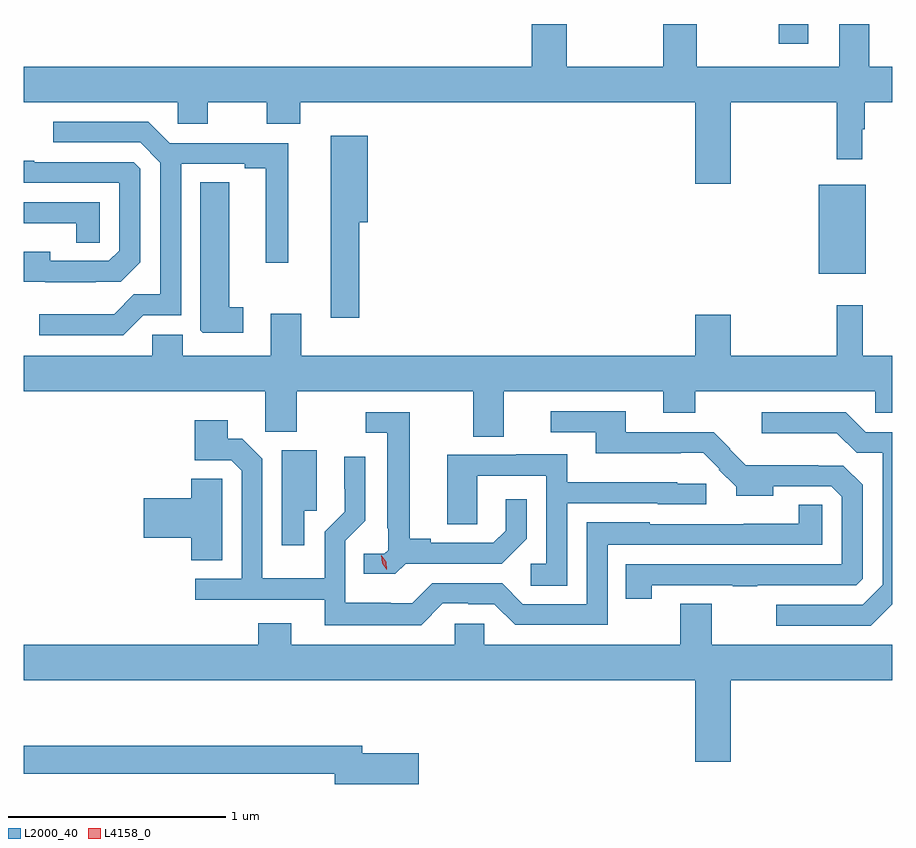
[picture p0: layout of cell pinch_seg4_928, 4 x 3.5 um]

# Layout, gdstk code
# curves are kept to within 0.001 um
import gdstk
lib = gdstk.Library(unit=1e-6, precision=1e-09)
def R(c, l, rs):  # rectangles x0, y0, x1, y1
    for r in rs: c.add(gdstk.rectangle(r[:2], r[2:], *l))
def P(c, l, *ps):  # polygons
    for p in ps: c.add(gdstk.Polygon(p, *l))
L2000_40 = (2000, 40)
L4158_0 = (4158, 0)

pinch_seg4_928 = lib.new_cell('pinch_seg4_928')
R(pinch_seg4_928, L2000_40, [(705.038,804.023,705.253,804.433), (704.854,805.083,704.989,805.173)])
P(pinch_seg4_928, L2000_40, [(704.632,804.812),(705.121,804.812),(705.121,804.549),(705.238,804.549),(705.238,804.689),(705.25,804.689),(705.25,804.812),(705.375,804.812),(705.375,804.976),(705.271,804.976),(705.271,805.173),(705.131,805.173),(705.131,804.976),(704.475,804.976),(704.475,805.173),(704.32,805.173),(704.32,804.976),(703.875,804.976),(703.875,805.173),(703.715,805.173),(703.715,804.976),(701.375,804.976),(701.375,804.812),(702.084,804.812),(702.084,804.714),(702.223,804.714),(702.223,804.812),(702.494,804.812),(702.494,804.713),(702.647,804.713),(702.647,804.812),(704.468,804.812),(704.468,804.438),(704.632,804.438)],
  [(701.925,803.832),(702.099,803.832),(702.099,804.528),(702.392,804.528),(702.392,804.508),(702.488,804.508),(702.488,804.072),(702.592,804.072),(702.592,804.624),(702.046,804.624),(701.947,804.723),(701.511,804.723),(701.511,804.627),(701.91,804.627),(702.003,804.534),(702.003,803.927),(701.882,803.927),(701.791,803.836),(701.445,803.836),(701.445,803.739),(701.832,803.739)],
  [(702.92,804.26),(702.959,804.26),(702.959,804.658),(702.788,804.658),(702.788,803.82),(702.92,803.82)],
  [(701.705,803.986),(701.821,803.986),(701.91,804.075),(701.91,804.507),(701.88,804.537),(701.423,804.537),(701.423,804.542),(701.375,804.542),(701.375,804.441),(701.814,804.441),(701.814,804.129),(701.766,804.081),(701.497,804.081),(701.497,804.124),(701.375,804.124),(701.375,803.985),(701.705,803.984)],
  [(702.385,803.867),(702.322,803.867),(702.322,804.443),(702.188,804.443),(702.188,803.761),(702.198,803.751),(702.385,803.751)],
  [(701.724,804.351),(701.375,804.351),(701.375,804.254),(701.616,804.254),(701.616,804.166),(701.724,804.166)],
  [(703.585,803.48),(704.321,803.48),(704.321,803.381),(704.469,803.381),(704.469,803.48),(705.297,803.48),(705.297,803.382),(705.375,803.382),(705.375,803.644),(705.239,803.644),(705.239,803.878),(705.121,803.878),(705.121,803.644),(704.632,803.644),(704.632,803.833),(704.468,803.833),(704.468,803.644),(702.652,803.644),(702.652,803.839),(702.512,803.839),(702.512,803.644),(702.106,803.644),(702.106,803.742),(701.967,803.742),(701.967,803.644),(701.375,803.644),(701.375,803.48),(702.486,803.48),(702.486,803.293),(702.633,803.293),(702.633,803.48),(703.445,803.48),(703.445,803.272),(703.585,803.272)],
  [(704.268,802.587),(704.641,802.587),(704.641,802.582),(704.753,802.582),(704.753,802.587),(705.21,802.587),(705.24,802.617),(705.24,803.049),(705.151,803.138),(705.035,803.138),(705.035,803.14),(704.701,803.14),(704.627,803.213),(704.629,803.215),(704.553,803.292),(704.149,803.292),(704.149,803.388),(703.803,803.388),(703.803,803.292),(704.009,803.292),(704.009,803.195),(704.402,803.195),(704.402,803.198),(704.504,803.198),(704.58,803.121),(704.577,803.118),(704.656,803.04),(704.656,803),(704.827,803),(704.827,803.043),(705.096,803.043),(705.144,802.995),(705.144,802.683),(704.149,802.683),(704.149,802.524),(704.268,802.524)],
  [(705.375,802.499),(705.375,803.292),(705.255,803.292),(705.162,803.385),(704.775,803.385),(704.775,803.288),(705.121,803.288),(705.212,803.197),(705.333,803.197),(705.333,802.59),(705.24,802.497),(704.841,802.497),(704.841,802.401),(705.277,802.401)],
  [(703.134,802.686),(703.576,802.686),(703.692,802.802),(703.692,802.984),(703.595,802.984),(703.595,802.839),(703.538,802.782),(703.249,802.782),(703.249,802.802),(703.153,802.802),(703.153,803.385),(702.951,803.385),(702.951,803.289),(703.049,803.289),(703.049,802.849),(703.053,802.849),(703.053,802.749),(703.035,802.731),(702.94,802.731),(702.94,802.639),(703.086,802.639)],
  [(703.305,802.503),(703.422,802.503),(703.422,802.5),(703.542,802.5),(703.638,802.404),(704.064,802.404),(704.064,802.773),(705.054,802.773),(705.054,802.958),(704.946,802.958),(704.946,802.87),(704.259,802.869),(704.259,802.876),(703.968,802.876),(703.968,802.5),(703.674,802.5),(703.578,802.596),(703.257,802.596),(703.164,802.503),(703.064,802.503),(703.064,802.507),(702.855,802.507),(702.855,802.791),(702.948,802.884),(702.948,803.179),(702.852,803.179),(702.852,803.032),(702.854,803.032),(702.854,802.926),(702.762,802.834),(702.762,802.618),(702.474,802.618),(702.474,803.169),(702.381,803.262),(702.313,803.262),(702.313,803.347),(702.161,803.347),(702.161,803.163),(702.33,803.163),(702.378,803.115),(702.378,802.617),(702.165,802.617),(702.165,802.521),(702.761,802.521),(702.761,802.403),(703.205,802.403)],
  [(702.667,802.929),(702.724,802.929),(702.724,803.208),(702.563,803.208),(702.563,802.77),(702.667,802.77)],
  [(703.878,802.965),(704.295,802.965),(704.295,802.959),(704.52,802.959),(704.52,803.055),(704.385,803.055),(704.385,803.062),(703.879,803.062),(703.879,803.191),(703.643,803.191),(703.643,803.187),(703.325,803.187),(703.325,802.867),(703.464,802.867),(703.464,803.091),(703.782,803.091),(703.782,802.686),(703.71,802.686),(703.71,802.585),(703.878,802.585)],
  [(702.289,802.97),(702.288,802.97),(702.288,803.078),(702.146,803.078),(702.146,802.988),(701.928,802.988),(701.928,802.805),(702.146,802.805),(702.146,802.702),(702.289,802.702)],
  [(704.632,802.148),(705.375,802.148),(705.375,802.312),(704.545,802.312),(704.545,802.502),(704.398,802.502),(704.398,802.312),(703.497,802.312),(703.497,802.41),(703.359,802.41),(703.359,802.312),(702.607,802.312),(702.607,802.411),(702.455,802.411),(702.455,802.312),(701.375,802.312),(701.375,802.148),(704.468,802.148),(704.468,801.774),(704.632,801.774)],
  [(703.195,801.813),(702.934,801.813),(702.934,801.847),(701.375,801.847),(701.375,801.718),(702.806,801.718),(702.806,801.671),(703.195,801.671)])
P(pinch_seg4_928, L4158_0, [(703.047,802.658),(703.047,802.658),(703.025,802.688),(703.022,802.725),(703.022,802.726),(703.022,802.725),(703.044,802.696),(703.047,802.659)])

lib.write_gds('pinch_seg4_928.gds')
